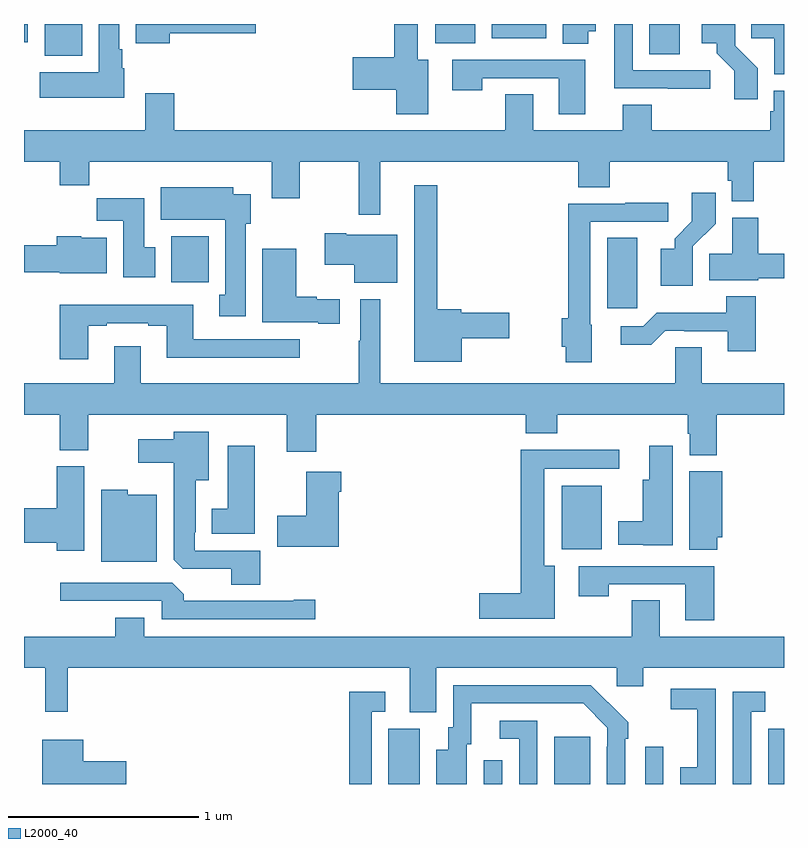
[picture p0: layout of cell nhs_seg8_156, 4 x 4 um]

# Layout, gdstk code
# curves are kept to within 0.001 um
import gdstk
lib = gdstk.Library(unit=1e-6, precision=1e-09)
def R(c, l, rs):  # rectangles x0, y0, x1, y1
    for r in rs: c.add(gdstk.rectangle(r[:2], r[2:], *l))
def P(c, l, *ps):  # polygons
    for p in ps: c.add(gdstk.Polygon(p, *l))
L2000_40 = (2000, 40)

nhs_seg8_156 = lib.new_cell('nhs_seg8_156')
R(nhs_seg8_156, L2000_40, [(122.918,1103.9,123.082,1104.192), (123.42,1103.9,123.516,1104.025), (123.791,1103.9,123.979,1104.148), (124.269,1103.9,124.365,1104.097), (124.916,1103.9,125,1104.192), (123.83,1105.136,124.042,1105.471), (124.07,1106.403,124.228,1106.774), (121.775,1106.54,121.972,1106.782), (121.109,1107.734,121.306,1107.9), (124.292,1107.742,124.45,1107.9), (123.164,1107.8,123.376,1107.9), (121,1107.804,121.021,1107.9), (123.461,1107.824,123.748,1107.9)])
P(nhs_seg8_156, L2000_40, [(124.862,1107.666),(124.743,1107.785),(124.743,1107.9),(124.566,1107.9),(124.566,1107.8),(124.646,1107.8),(124.646,1107.745),(124.737,1107.655),(124.737,1107.504),(124.862,1107.504)],
  [(121.768,1107.851),(122.221,1107.851),(122.221,1107.9),(121.589,1107.9),(121.589,1107.8),(121.768,1107.8)],
  [(123.97,1107.863),(124.009,1107.863),(124.009,1107.9),(123.836,1107.9),(123.836,1107.796),(123.97,1107.796)],
  [(121.528,1107.666),(121.516,1107.666),(121.516,1107.766),(121.501,1107.766),(121.501,1107.9),(121.394,1107.9),(121.394,1107.646),(121.082,1107.646),(121.082,1107.512),(121.528,1107.512)],
  [(125,1107.9),(124.828,1107.9),(124.828,1107.826),(124.949,1107.826),(124.949,1107.635),(125,1107.635)],
  [(123.127,1107.712),(123.073,1107.712),(123.073,1107.9),(122.948,1107.9),(122.948,1107.725),(122.73,1107.725),(122.73,1107.554),(122.96,1107.554),(122.96,1107.426),(123.127,1107.426)],
  [(124.612,1107.657),(124.203,1107.657),(124.203,1107.9),(124.107,1107.9),(124.107,1107.767),(124.106,1107.767),(124.106,1107.561),(124.387,1107.561),(124.387,1107.559),(124.612,1107.559)],
  [(123.955,1107.711),(123.255,1107.711),(123.255,1107.552),(123.411,1107.552),(123.411,1107.615),(123.815,1107.615),(123.815,1107.426),(123.955,1107.426)],
  [(122.875,1107.176),(123.917,1107.176),(123.917,1107.04),(124.082,1107.04),(124.082,1107.176),(124.705,1107.176),(124.705,1107.075),(124.725,1107.075),(124.725,1106.966),(124.841,1106.966),(124.841,1107.176),(125,1107.176),(125,1107.55),(124.947,1107.55),(124.947,1107.441),(124.927,1107.441),(124.927,1107.34),(124.304,1107.34),(124.304,1107.476),(124.151,1107.476),(124.151,1107.34),(123.679,1107.34),(123.679,1107.53),(123.532,1107.53),(123.532,1107.34),(121.79,1107.34),(121.79,1107.535),(121.637,1107.535),(121.637,1107.34),(121,1107.34),(121,1107.176),(121.187,1107.176),(121.187,1107.052),(121.343,1107.052),(121.343,1107.176),(122.303,1107.176),(122.303,1106.982),(122.451,1106.982),(122.451,1107.176),(122.761,1107.176),(122.761,1106.895),(122.875,1106.895)],
  [(123.304,1106.246),(123.553,1106.246),(123.553,1106.381),(123.3,1106.381),(123.3,1106.399),(123.175,1106.399),(123.175,1107.052),(123.053,1107.052),(123.053,1106.123),(123.304,1106.123)],
  [(122.167,1106.85),(122.194,1106.85),(122.194,1107.004),(122.101,1107.004),(122.101,1107.04),(121.721,1107.04),(121.721,1106.87),(122.06,1106.87),(122.06,1106.474),(122.027,1106.474),(122.027,1106.361),(122.167,1106.361)],
  [(124.521,1106.731),(124.64,1106.85),(124.64,1107.013),(124.515,1107.013),(124.515,1106.861),(124.424,1106.771),(124.424,1106.716),(124.352,1106.716),(124.352,1106.523),(124.521,1106.523)],
  [(121.69,1106.724),(121.633,1106.724),(121.633,1106.982),(121.384,1106.982),(121.384,1106.864),(121.523,1106.864),(121.523,1106.568),(121.69,1106.568)],
  [(123.988,1106.316),(123.981,1106.316),(123.981,1106.859),(124.39,1106.859),(124.39,1106.958),(124.165,1106.958),(124.165,1106.955),(123.865,1106.955),(123.865,1106.351),(123.83,1106.351),(123.83,1106.202),(123.852,1106.202),(123.852,1106.12),(123.988,1106.12)],
  [(124.864,1106.563),(125,1106.563),(125,1106.692),(124.864,1106.692),(124.864,1106.881),(124.727,1106.881),(124.727,1106.69),(124.606,1106.69),(124.606,1106.552),(124.864,1106.552)],
  [(122.965,1106.791),(122.695,1106.791),(122.695,1106.799),(122.583,1106.799),(122.583,1106.633),(122.738,1106.633),(122.738,1106.537),(122.965,1106.537)],
  [(121.435,1106.776),(121.302,1106.776),(121.302,1106.782),(121.172,1106.782),(121.172,1106.736),(121,1106.736),(121,1106.594),(121.188,1106.594),(121.188,1106.588),(121.435,1106.588)],
  [(122.662,1106.452),(122.54,1106.452),(122.54,1106.465),(122.434,1106.465),(122.434,1106.716),(122.255,1106.716),(122.255,1106.33),(122.549,1106.33),(122.549,1106.323),(122.662,1106.323)],
  [(124.851,1106.467),(124.696,1106.467),(124.696,1106.381),(124.331,1106.381),(124.26,1106.31),(124.14,1106.31),(124.14,1106.213),(124.301,1106.213),(124.374,1106.286),(124.474,1106.286),(124.474,1106.283),(124.703,1106.283),(124.703,1106.178),(124.851,1106.178)],
  [(124.646,1105.844),(125,1105.844),(125,1106.008),(124.567,1106.008),(124.567,1106.198),(124.428,1106.198),(124.428,1106.008),(122.875,1106.008),(122.875,1106.452),(122.771,1106.452),(122.771,1106.234),(122.761,1106.234),(122.761,1106.008),(121.615,1106.008),(121.615,1106.203),(121.475,1106.203),(121.475,1106.008),(121,1106.008),(121,1105.844),(121.187,1105.844),(121.187,1105.657),(121.339,1105.657),(121.339,1105.844),(122.384,1105.844),(122.384,1105.65),(122.537,1105.65),(122.537,1105.844),(123.641,1105.844),(123.641,1105.745),(123.806,1105.745),(123.806,1105.844),(124.493,1105.844),(124.493,1105.743),(124.505,1105.743),(124.505,1105.631),(124.646,1105.631)],
  [(121.339,1106.313),(121.435,1106.313),(121.435,1106.325),(121.655,1106.325),(121.655,1106.313),(121.751,1106.313),(121.751,1106.144),(122.452,1106.144),(122.452,1106.241),(121.891,1106.241),(121.891,1106.422),(121.187,1106.422),(121.187,1106.136),(121.339,1106.136)],
  [(122.243,1105.128),(121.899,1105.128),(121.899,1105.225),(121.903,1105.225),(121.903,1105.499),(121.972,1105.499),(121.972,1105.753),(121.787,1105.753),(121.787,1105.714),(121.602,1105.714),(121.602,1105.592),(121.787,1105.592),(121.787,1105.081),(121.836,1105.032),(122.09,1105.032),(122.09,1104.949),(122.243,1104.949)],
  [(122.215,1105.681),(122.072,1105.681),(122.072,1105.348),(121.988,1105.348),(121.988,1105.217),(122.215,1105.217)],
  [(124.414,1105.681),(124.292,1105.681),(124.292,1105.501),(124.256,1105.501),(124.256,1105.282),(124.127,1105.282),(124.127,1105.16),(124.26,1105.16),(124.26,1105.157),(124.414,1105.157)],
  [(123.793,1105.048),(123.739,1105.048),(123.739,1105.56),(124.132,1105.56),(124.132,1105.658),(123.614,1105.658),(123.614,1104.905),(123.396,1104.905),(123.396,1104.77),(123.793,1104.77)],
  [(121.318,1105.572),(121.172,1105.572),(121.172,1105.352),(121,1105.352),(121,1105.169),(121.172,1105.169),(121.172,1105.128),(121.318,1105.128)],
  [(124.649,1105.199),(124.675,1105.199),(124.675,1105.546),(124.502,1105.546),(124.502,1105.132),(124.649,1105.132)],
  [(122.656,1105.439),(122.669,1105.439),(122.669,1105.543),(122.486,1105.543),(122.486,1105.311),(122.334,1105.311),(122.334,1105.148),(122.656,1105.148)],
  [(121.699,1105.423),(121.545,1105.423),(121.545,1105.45),(121.406,1105.45),(121.406,1105.07),(121.699,1105.07)],
  [(124.634,1105.047),(123.921,1105.047),(123.921,1104.888),(124.077,1104.888),(124.077,1104.951),(124.481,1104.951),(124.481,1104.762),(124.634,1104.762)],
  [(122.533,1104.869),(122.42,1104.869),(122.42,1104.864),(121.841,1104.864),(121.841,1104.898),(121.779,1104.96),(121.191,1104.96),(121.191,1104.864),(121.725,1104.864),(121.725,1104.768),(122.533,1104.768)],
  [(123.169,1104.512),(124.119,1104.512),(124.119,1104.414),(124.258,1104.414),(124.258,1104.512),(125,1104.512),(125,1104.676),(124.345,1104.676),(124.345,1104.866),(124.198,1104.866),(124.198,1104.676),(121.633,1104.676),(121.633,1104.775),(121.481,1104.775),(121.481,1104.676),(121,1104.676),(121,1104.512),(121.112,1104.512),(121.112,1104.279),(121.229,1104.279),(121.229,1104.512),(123.029,1104.512),(123.029,1104.277),(123.169,1104.277)],
  [(123.331,1104.108),(123.355,1104.108),(123.355,1104.324),(123.943,1104.324),(124.071,1104.195),(124.071,1104.095),(124.068,1104.095),(124.068,1103.9),(124.164,1103.9),(124.164,1104.137),(124.179,1104.137),(124.179,1104.225),(123.982,1104.42),(123.258,1104.42),(123.258,1104.198),(123.233,1104.198),(123.233,1104.079),(123.17,1104.079),(123.17,1103.9),(123.331,1103.9)],
  [(124.641,1104.402),(124.404,1104.402),(124.404,1104.294),(124.544,1104.294),(124.544,1103.989),(124.454,1103.989),(124.454,1103.9),(124.641,1103.9)],
  [(124.827,1104.279),(124.9,1104.279),(124.9,1104.385),(124.731,1104.385),(124.731,1103.9),(124.827,1103.9)],
  [(122.829,1104.279),(122.902,1104.279),(122.902,1104.385),(122.713,1104.385),(122.713,1103.9),(122.829,1103.9)],
  [(123.702,1104.234),(123.504,1104.234),(123.504,1104.138),(123.606,1104.138),(123.606,1103.9),(123.702,1103.9)],
  [(121.537,1104.02),(121.312,1104.02),(121.312,1104.133),(121.097,1104.133),(121.097,1103.9),(121.537,1103.9)])

lib.write_gds('nhs_seg8_156.gds')
